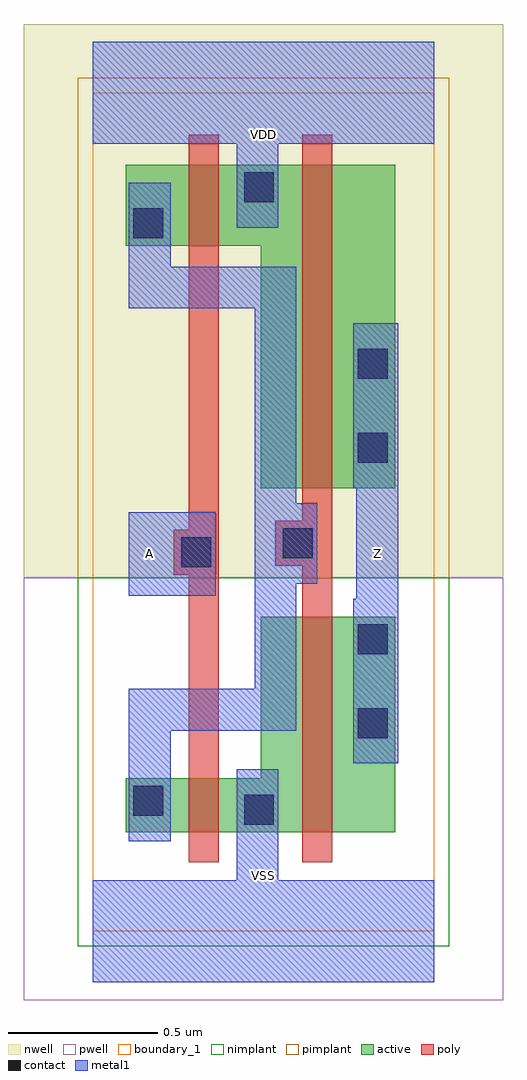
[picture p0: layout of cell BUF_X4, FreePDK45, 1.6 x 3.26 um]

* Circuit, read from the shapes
.subckt BUF_X4 A VDD VSS Z
M1 VSS A n1 VSUBS nfet w=0.18u l=0.1u
M2 Z n1 VSS VSUBS nfet w=0.72u l=0.1u
M3 VDD A n1 n2 pfet w=0.27u l=0.1u
M4 Z n1 VDD n2 pfet w=1.08u l=0.1u
.ends

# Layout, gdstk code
import gdstk
lib = gdstk.Library(unit=1e-6, precision=1e-09)
def R(c, l, rs):  # rectangles x0, y0, x1, y1
    for r in rs: c.add(gdstk.rectangle(r[:2], r[2:], *l))
def P(c, l, *ps):  # polygons
    for p in ps: c.add(gdstk.Polygon(p, *l))
active = (1, 0)
pwell = (2, 0)
nwell = (3, 0)
nimplant = (4, 0)
pimplant = (5, 0)
poly = (9, 0)
contact = (10, 0)
metal1 = (11, 0)
boundary_1 = (235, 1)

buf_x4 = lib.new_cell('BUF_X4')
P(buf_x4, active, [(0.11,2.29),(0.56,2.29),(0.56,1.48),(1.01,1.48),(1.01,2.56),(0.11,2.56)],
  [(0.11,0.33),(1.01,0.33),(1.01,1.05),(0.56,1.05),(0.56,0.51),(0.11,0.51)])
R(buf_x4, pwell, [(-0.23,-0.23,1.37,1.18)])
R(buf_x4, nwell, [(-0.23,1.18,1.37,3.03)])
R(buf_x4, nimplant, [(-0.05,-0.05,1.19,1.18)])
R(buf_x4, pimplant, [(-0.05,1.18,1.19,2.85)])
P(buf_x4, poly, [(0.61,1.22),(0.7,1.22),(0.7,0.23),(0.8,0.23),(0.8,2.66),(0.7,2.66),(0.7,1.37),(0.61,1.37)],
  [(0.27,1.19),(0.32,1.19),(0.32,0.23),(0.42,0.23),(0.42,2.66),(0.32,2.66),(0.32,1.34),(0.27,1.34)])
R(buf_x4, contact, [(0.505,0.355,0.605,0.455), (0.135,0.385,0.235,0.485), (0.885,0.645,0.985,0.745), (0.885,0.925,0.985,1.025), (0.295,1.215,0.395,1.315), (0.635,1.245,0.735,1.345), (0.885,1.565,0.985,1.665), (0.885,1.845,0.985,1.945), (0.135,2.315,0.235,2.415), (0.505,2.435,0.605,2.535)])
R(buf_x4, metal1, [(0.12,1.12,0.41,1.4), (0.12,1.12,0.41,1.4)])
P(buf_x4, metal1, [(0,-0.17),(1.14,-0.17),(1.14,0.17),(0.62,0.17),(0.62,0.54),(0.48,0.54),(0.48,0.17),(0,0.17)],
  [(0,2.63),(0.48,2.63),(0.48,2.35),(0.62,2.35),(0.62,2.63),(1.14,2.63),(1.14,2.97),(0,2.97)],
  [(0.87,1.48),(0.88,1.48),(0.88,1.11),(0.87,1.11),(0.87,0.56),(1.02,0.56),(1.02,2.03),(0.87,2.03)],
  [(0,2.63),(0.48,2.63),(0.48,2.35),(0.62,2.35),(0.62,2.63),(1.14,2.63),(1.14,2.97),(0,2.97)],
  [(0,-0.17),(1.14,-0.17),(1.14,0.17),(0.62,0.17),(0.62,0.54),(0.48,0.54),(0.48,0.17),(0,0.17)],
  [(0.87,1.48),(0.88,1.48),(0.88,1.11),(0.87,1.11),(0.87,0.56),(1.02,0.56),(1.02,2.03),(0.87,2.03)],
  [(0.12,2.08),(0.54,2.08),(0.54,0.81),(0.12,0.81),(0.12,0.3),(0.26,0.3),(0.26,0.67),(0.68,0.67),(0.68,1.16),(0.75,1.16),(0.75,1.43),(0.68,1.43),(0.68,2.22),(0.26,2.22),(0.26,2.5),(0.12,2.5)])
R(buf_x4, boundary_1, [(0,0,1.14,2.8)])
buf_x4.add(gdstk.Label('Z', (0.95,1.26), layer=11, texttype=0))
buf_x4.add(gdstk.Label('VSS', (0.57,0.185), layer=11, texttype=0))
buf_x4.add(gdstk.Label('VDD', (0.57,2.66), layer=11, texttype=0))
buf_x4.add(gdstk.Label('A', (0.19,1.26), layer=11, texttype=0))

lib.write_gds('BUF_X4.gds')
